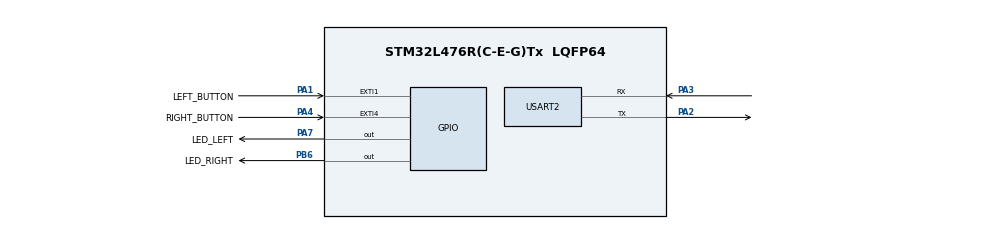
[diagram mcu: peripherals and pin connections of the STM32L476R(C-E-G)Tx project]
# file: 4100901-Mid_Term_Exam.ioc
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Mcu.Family=STM32L4
Mcu.Name=STM32L476R(C-E-G)Tx
Mcu.Package=LQFP64
NVIC.EXTI1_IRQn=true\:0\:0\:false\:false\:true\:true\:true\:true
NVIC.EXTI4_IRQn=true\:0\:0\:false\:false\:true\:true\:true\:true
NVIC.PriorityGroup=NVIC_PRIORITYGROUP_4
PA1.GPIO_Label=LEFT_BUTTON
PA1.Signal=GPXTI1
PA2.Mode=Asynchronous
PA2.Signal=USART2_TX
PA3.Mode=Asynchronous
PA3.Signal=USART2_RX
PA4.GPIO_Label=RIGHT_BUTTON
PA4.Signal=GPXTI4
PA7.GPIO_Label=LED_LEFT
PA7.PinState=GPIO_PIN_SET
PA7.Signal=GPIO_Output
PB6.GPIO_Label=LED_RIGHT
PB6.PinState=GPIO_PIN_SET
PB6.Signal=GPIO_Output
ProjectManager.HeapSize=0x200
ProjectManager.StackSize=0x400
ProjectManager.TargetToolchain=STM32CubeIDE
RCC.HSE_VALUE=8000000
RCC.HSI_VALUE=16000000
RCC.LSE_VALUE=32768
RCC.MSI_VALUE=4000000
RCC.VCOOutputFreq_Value=32000000
USART2.VirtualMode-Asynchronous=VM_ASYNC
board=custom

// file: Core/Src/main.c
/* USER CODE BEGIN Header */
/**
  ******************************************************************************
  * @file           : main.c
  * @brief          : Main program body
  ******************************************************************************
  * @attention
  *
  * Copyright (c) 2024 STMicroelectronics.
  * All rights reserved.
  *
  * This software is licensed under terms that can be found in the LICENSE file
  * in the root directory of this software component.
  * If no LICENSE file comes with this software, it is provided AS-IS.
  *
  ******************************************************************************
  */
/* USER CODE END Header */
#include "main.h"

/* USER CODE BEGIN Includes */
#include <stdbool.h>
/* USER CODE END Includes */

/* USER CODE BEGIN PD */
#define DEBOUNCE_DELAY 500 // 500 ms debounce delay
#define BLINK_DELAY 250 // 250 ms blink delay (2Hz)
/* USER CODE END PD */

UART_HandleTypeDef huart2;

/* USER CODE BEGIN PV */
uint32_t last_left_press_time = 0;
uint32_t last_right_press_time = 0;
uint8_t left_press_count = 0;
uint8_t right_press_count = 0;
bool left_blinking = false;
bool right_blinking = false;
uint32_t left_blink_start_time = 0;
uint32_t right_blink_start_time = 0;
uint8_t left_blink_counter = 0;
uint8_t right_blink_counter = 0;
uint8_t left_pressed = 0;
uint8_t right_pressed = 0;
/* USER CODE END PV */

void SystemClock_Config(void);
static void MX_GPIO_Init(void);
static void MX_USART2_UART_Init(void);

/* USER CODE BEGIN 0 */
void HAL_GPIO_EXTI_Callback(uint16_t GPIO_Pin)
{
  // Check if the interrupt was triggered by the left button
  if (GPIO_Pin == LEFT_BUTTON_Pin) {
    HAL_GPIO_TogglePin(LED_LEFT_GPIO_Port, LED_LEFT_Pin); // Toggle the state of the left LED
    HAL_UART_Transmit(&huart2, "IZQUIERDA\r\n", 11, HAL_MAX_DELAY); // Transmit "IZQUIERDA" message over UART
    left_pressed = 1; // Set left_pressed flag to 1
  }

  // Check if the interrupt was triggered by the right button
  if (GPIO_Pin == RIGHT_BUTTON_Pin) {
    HAL_GPIO_TogglePin(LED_RIGHT_GPIO_Port, LED_RIGHT_Pin); // Toggle the state of the right LED
    HAL_UART_Transmit(&huart2, "DERECHA\r\n", 9, HAL_MAX_DELAY); // Transmit "DERECHA" message over UART
    right_pressed = 1; // Set right_pressed flag to 1
  }

  // Get the current tick count (in milliseconds) since the program started
  uint32_t current_time = HAL_GetTick();

  // If the interrupt was triggered by the left button
  if (GPIO_Pin == LEFT_BUTTON_Pin) {
    HAL_UART_Transmit(&huart2, (uint8_t*)"IZQUIERDA\r\n", 11, HAL_MAX_DELAY); // Transmit "IZQUIERDA" message over UART

    // Check if the last press was within the debounce period
    if ((current_time - last_left_press_time) < DEBOUNCE_DELAY) {
      left_press_count++; // Increment the left press count
      // If the button was pressed twice within the debounce period
      if (left_press_count >= 2) {
        left_blinking = true; // Set the left blinking flag to true for continuous blinking
      }
    } else {
      // If the button was not pressed within the debounce period, reset the press count
      left_press_count = 1; // Reset the left press count to 1
      left_blink_counter = 0; // Reset the left blink counter to 0
      left_blink_start_time = current_time; // Update the start time for blinking
    }
    last_left_press_time = current_time; // Update the last left press time
  }

  // If the interrupt was triggered by the right button
  if (GPIO_Pin == RIGHT_BUTTON_Pin) {
    HAL_UART_Transmit(&huart2, (uint8_t*)"DERECHA\r\n", 9, HAL_MAX_DELAY); // Transmit "DERECHA" message over UART

    // Check if the last press was within the debounce period
    if ((current_time - last_right_press_time) < DEBOUNCE_DELAY) {
      right_press_count++; // Increment the right press count
      // If the button was pressed twice within the debounce period
      if (right_press_count >= 2) {
        right_blinking = true; // Set the right blinking flag to true for continuous blinking
      }
    } else {
      // If the button was not pressed within the debounce period, reset the press count
      right_press_count = 1; // Reset the right press count to 1
      right_blink_counter = 0; // Reset the right blink counter to 0
      right_blink_start_time = current_time; // Update the start time for blinking
    }
    last_right_press_time = current_time; // Update the last right press time
  }
}

/* USER CODE END 0 */

int main(void)
{

  /* MCU Configuration--------------------------------------------------------*/

  /* Reset of all peripherals, Initializes the Flash interface and the Systick. */
  HAL_Init();

  /* Configure the system clock */
  SystemClock_Config();

  /* Initialize all configured peripherals */
  MX_GPIO_Init();
  MX_USART2_UART_Init();
  /* USER CODE BEGIN 2 */
  HAL_UART_Transmit(&huart2, (uint8_t*)"INICIAR\r\n", 9, HAL_MAX_DELAY);
  /* USER CODE END 2 */

  /* Infinite loop */
  while (1)
  {

    /* USER CODE BEGIN 3 */

	  if (left_pressed != 0) {
	  		  left_pressed = 0;
	  		  for (uint8_t i = 0; i < 6; i++) {
	  			  HAL_GPIO_TogglePin(LED_LEFT_GPIO_Port, LED_LEFT_Pin);
	  			  HAL_Delay(250);
	  		  }
	  		  HAL_GPIO_WritePin(LED_LEFT_GPIO_Port, LED_LEFT_Pin, GPIO_PIN_SET);
	  	  }
	  if (right_pressed != 0) {
	  		  right_pressed = 0;
	  		  for (uint8_t i = 0; i < 6; i++) {
	  			  HAL_GPIO_TogglePin(LED_RIGHT_GPIO_Port, LED_RIGHT_Pin);
	  			  HAL_Delay(250);
	  		  }
	  		  HAL_GPIO_WritePin(LED_RIGHT_GPIO_Port, LED_RIGHT_Pin, GPIO_PIN_SET);
	  	  }
	  uint32_t current_time = HAL_GetTick();

	  // Handle left button single press blink
	  if (left_press_count == 1 && (current_time - left_blink_start_time) < (3 * BLINK_DELAY * 2)) {
	    if ((current_time - left_blink_start_time) >= (left_blink_counter * BLINK_DELAY)) {
	      HAL_GPIO_TogglePin(LED_LEFT_GPIO_Port, LED_LEFT_Pin);
	      left_blink_counter++;
	    }
	    if (left_blink_counter >= 6) {
	      HAL_GPIO_WritePin(LED_LEFT_GPIO_Port, LED_LEFT_Pin, GPIO_PIN_RESET);
	      left_press_count = 0;  // Reset press count after 3 blinks
	    }
	  }

	  // Handle right button single press blink
	  if (right_press_count == 1 && (current_time - right_blink_start_time) < (3 * BLINK_DELAY * 2)) {
	    if ((current_time - right_blink_start_time) >= (right_blink_counter * BLINK_DELAY)) {
	      HAL_GPIO_TogglePin(LED_RIGHT_GPIO_Port, LED_RIGHT_Pin);
	      right_blink_counter++;
	    }
	    if (right_blink_counter >= 6) {
	      HAL_GPIO_WritePin(LED_RIGHT_GPIO_Port, LED_RIGHT_Pin, GPIO_PIN_RESET);
	      right_press_count = 0;  // Reset press count after 3 blinks
	    }
	  }

	  // Handle left button continuous blink
	  if (left_blinking) {
	    if ((current_time % (BLINK_DELAY * 2)) < BLINK_DELAY) {
	      HAL_GPIO_WritePin(LED_LEFT_GPIO_Port, LED_LEFT_Pin, GPIO_PIN_SET);
	    } else {
	      HAL_GPIO_WritePin(LED_LEFT_GPIO_Port, LED_LEFT_Pin, GPIO_PIN_RESET);
	    }
	  }

	  // Handle right button continuous blink
	  if (right_blinking) {
	    if ((current_time % (BLINK_DELAY * 2)) < BLINK_DELAY) {
	      HAL_GPIO_WritePin(LED_RIGHT_GPIO_Port, LED_RIGHT_Pin, GPIO_PIN_SET);
	    } else {
	      HAL_GPIO_WritePin(LED_RIGHT_GPIO_Port, LED_RIGHT_Pin, GPIO_PIN_RESET);
	    }
	  }

	  // Reset press counts if no recent presses within the debounce period
	  if ((current_time - last_left_press_time) > DEBOUNCE_DELAY) {
	    left_press_count = 0;
	  }

	  if ((current_time - last_right_press_time) > DEBOUNCE_DELAY) {
	    right_press_count = 0;
	  }

	  }
	  /* USER CODE END 3 */
  /* USER CODE END 3 */
}

void SystemClock_Config(void)
{
  RCC_OscInitTypeDef RCC_OscInitStruct = {0};
  RCC_ClkInitTypeDef RCC_ClkInitStruct = {0};

  /** Configure the main internal regulator output voltage
  */
  if (HAL_PWREx_ControlVoltageScaling(PWR_REGULATOR_VOLTAGE_SCALE1) != HAL_OK)
  {
    Error_Handler();
  }

  /** Initializes the RCC Oscillators according to the specified parameters
  * in the RCC_OscInitTypeDef structure.
  */
  RCC_OscInitStruct.OscillatorType = RCC_OSCILLATORTYPE_MSI;
  RCC_OscInitStruct.MSIState = RCC_MSI_ON;
  RCC_OscInitStruct.MSICalibrationValue = 0;
  RCC_OscInitStruct.MSIClockRange = RCC_MSIRANGE_6;
  RCC_OscInitStruct.PLL.PLLState = RCC_PLL_NONE;
  if (HAL_RCC_OscConfig(&RCC_OscInitStruct) != HAL_OK)
  {
    Error_Handler();
  }

  /** Initializes the CPU, AHB and APB buses clocks
  */
  RCC_ClkInitStruct.ClockType = RCC_CLOCKTYPE_HCLK|RCC_CLOCKTYPE_SYSCLK
                              |RCC_CLOCKTYPE_PCLK1|RCC_CLOCKTYPE_PCLK2;
  RCC_ClkInitStruct.SYSCLKSource = RCC_SYSCLKSOURCE_MSI;
  RCC_ClkInitStruct.AHBCLKDivider = RCC_SYSCLK_DIV1;
  RCC_ClkInitStruct.APB1CLKDivider = RCC_HCLK_DIV1;
  RCC_ClkInitStruct.APB2CLKDivider = RCC_HCLK_DIV1;

  if (HAL_RCC_ClockConfig(&RCC_ClkInitStruct, FLASH_LATENCY_0) != HAL_OK)
  {
    Error_Handler();
  }
}

static void MX_USART2_UART_Init(void)
{

  huart2.Instance = USART2;
  huart2.Init.BaudRate = 115200;
  huart2.Init.WordLength = UART_WORDLENGTH_8B;
  huart2.Init.StopBits = UART_STOPBITS_1;
  huart2.Init.Parity = UART_PARITY_NONE;
  huart2.Init.Mode = UART_MODE_TX_RX;
  huart2.Init.HwFlowCtl = UART_HWCONTROL_NONE;
  huart2.Init.OverSampling = UART_OVERSAMPLING_16;
  huart2.Init.OneBitSampling = UART_ONE_BIT_SAMPLE_DISABLE;
  huart2.AdvancedInit.AdvFeatureInit = UART_ADVFEATURE_NO_INIT;
  if (HAL_UART_Init(&huart2) != HAL_OK)
  {
    Error_Handler();
  }

}

static void MX_GPIO_Init(void)
{
  GPIO_InitTypeDef GPIO_InitStruct = {0};

  /* GPIO Ports Clock Enable */
  __HAL_RCC_GPIOA_CLK_ENABLE();
  __HAL_RCC_GPIOB_CLK_ENABLE();

  /*Configure GPIO pin Output Level */
  HAL_GPIO_WritePin(LED_LEFT_GPIO_Port, LED_LEFT_Pin, GPIO_PIN_SET);

  /*Configure GPIO pin Output Level */
  HAL_GPIO_WritePin(LED_RIGHT_GPIO_Port, LED_RIGHT_Pin, GPIO_PIN_SET);

  /*Configure GPIO pins : LEFT_BUTTON_Pin RIGHT_BUTTON_Pin */
  GPIO_InitStruct.Pin = LEFT_BUTTON_Pin|RIGHT_BUTTON_Pin;
  GPIO_InitStruct.Mode = GPIO_MODE_IT_RISING;
  GPIO_InitStruct.Pull = GPIO_NOPULL;
  HAL_GPIO_Init(GPIOA, &GPIO_InitStruct);

  /*Configure GPIO pin : LED_LEFT_Pin */
  GPIO_InitStruct.Pin = LED_LEFT_Pin;
  GPIO_InitStruct.Mode = GPIO_MODE_OUTPUT_PP;
  GPIO_InitStruct.Pull = GPIO_NOPULL;
  GPIO_InitStruct.Speed = GPIO_SPEED_FREQ_LOW;
  HAL_GPIO_Init(LED_LEFT_GPIO_Port, &GPIO_InitStruct);

  /*Configure GPIO pin : LED_RIGHT_Pin */
  GPIO_InitStruct.Pin = LED_RIGHT_Pin;
  GPIO_InitStruct.Mode = GPIO_MODE_OUTPUT_PP;
  GPIO_InitStruct.Pull = GPIO_NOPULL;
  GPIO_InitStruct.Speed = GPIO_SPEED_FREQ_LOW;
  HAL_GPIO_Init(LED_RIGHT_GPIO_Port, &GPIO_InitStruct);

  /* EXTI interrupt init*/
  HAL_NVIC_SetPriority(EXTI1_IRQn, 0, 0);
  HAL_NVIC_EnableIRQ(EXTI1_IRQn);

  HAL_NVIC_SetPriority(EXTI4_IRQn, 0, 0);
  HAL_NVIC_EnableIRQ(EXTI4_IRQn);

}

void Error_Handler(void)
{
  __disable_irq();
  while (1)
  {
  }
}
